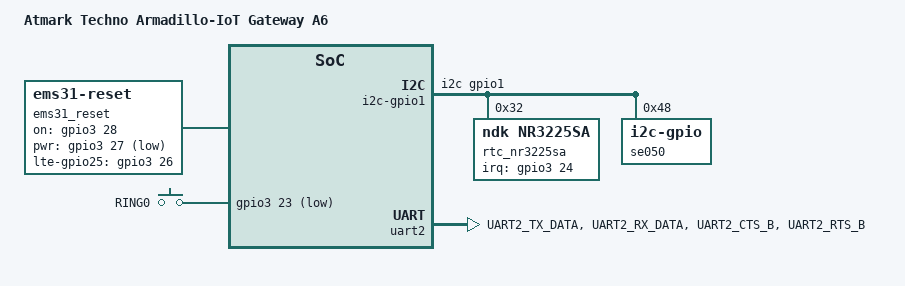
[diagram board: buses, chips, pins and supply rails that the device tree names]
/*
 * Copyright (C) 2021 Atmark Techno, Inc. All Rights Reserved.
 *
 * SPDX-License-Identifier: (GPL-2.0 OR MIT)
 */

#define ARMADILLO_IOTG_A6
#include "armadillo-640.dts"

/ {
	model = "Atmark Techno Armadillo-IoT Gateway A6";

	chosen {
		stdout-path = &uart3;
	};

	aliases {
		rtc0 = &rtc_nr3225sa;
	};

	ems31_reset: ems31-reset {
		compatible = "ems31-reset";
		pinctrl-names = "default";
		pinctrl-0 = <&pinctrl_ems31_reset>;
		gpio-on = <&gpio3 28 GPIO_ACTIVE_HIGH>;	/* LTE_ON */
		gpio-pwr = <&gpio3 27 GPIO_ACTIVE_LOW>;	/* LTE_PWR */
		gpio-lte-gpio25 = <&gpio3 26 GPIO_ACTIVE_HIGH>;	/* V36_LTE_GPIO25 */
	};

	i2c-gpio1 {
		pinctrl-names = "default";
		pinctrl-0 = <&pinctrl_i2c_gpio1>;

		#address-cells = <1>;
		#size-cells = <0>;
		compatible = "i2c-gpio";
		gpios = <
			&gpio1 31 GPIO_ACTIVE_HIGH
			&gpio1 30 GPIO_ACTIVE_HIGH
		>;
		i2c-gpio,delay-us = <2>;

		rtc_nr3225sa: rtc-nr3225sa {
			pinctrl-names = "default";
			pinctrl-0 = <&pinctrl_rtc_nr3225sa>;

			compatible = "ndk,nr3225sa";
			reg = <0x32>;

			interrupt-parent = <&gpio3>;
			interrupts = <24 IRQ_TYPE_EDGE_FALLING>;
		};

		se050 {
			compatible = "i2c-gpio";
			reg = <0x48>;
		};
	};

	gpio-keys {
		sw1 {
			label = "SW1";
			gpios = <&gpio1 10 GPIO_ACTIVE_LOW>;
			linux,code = <KEY_ENTER>;
			gpio-key,wakeup = <1>;
		};
	};

	gpio-wakeup {
		compatible = "gpio-keys";
		pinctrl-names = "default";
		pinctrl-0 = <&pinctrl_gpio_wakeup>;

		ring0 {
			label = "RING0";
			gpios = <&gpio3 23 GPIO_ACTIVE_LOW>;
			gpio-key,wakeup = <1>;
			linux,code = <KEY_WAKEUP>;
		};
	};
};

&uart2 {
	pinctrl-names = "default";
	pinctrl-0 = <&pinctrl_uart2>;
	status = "okay";
	uart-has-rtscts;
};

&iomuxc {
	pinctrl-names = "default";

	pinctrl_uart2: uart2grp {
		fsl,pins= <
			MX6UL_PAD_UART2_TX_DATA__UART2_DCE_TX	0x00008 // CON14_3  LTE_TXD0
			MX6UL_PAD_UART2_RX_DATA__UART2_DCE_RX	0x1b0b1 // CON14_4  LTE_RXD0
			MX6UL_PAD_UART2_CTS_B__UART2_DCE_CTS	0x00008 // CON9_1   LTE_RTS0
			MX6UL_PAD_UART2_RTS_B__UART2_DCE_RTS	0x1b0b1 // CON9_2   LTE_CTS0
		>;
	};

	pinctrl_i2c_gpio1: i2cgpio1grp {
		fsl,pins= <
			MX6UL_PAD_UART5_RX_DATA__GPIO1_IO31	0x40010008  // EXT_IO2
			MX6UL_PAD_UART5_TX_DATA__GPIO1_IO30	0x40010008  // EXT_IO4
		>;
	};

	pinctrl_se050_enable: se050enable {
		fsl,pins = <
			MX6UL_PAD_LCD_DATA20__GPIO3_IO25	0x00008	// CON9_15  SE_ENA
		>;
	};

	pinctrl_ems31_reset: ems31resetgrp {
		fsl,pins = <
			MX6UL_PAD_LCD_DATA21__GPIO3_IO26	0x00008	// CON9_16  V36_LTE_GPIO25
			MX6UL_PAD_LCD_DATA22__GPIO3_IO27	0x0b008	// CON9_17  LTE_PWR
			MX6UL_PAD_LCD_DATA23__GPIO3_IO28	0x0b008	// CON9_18  LTE_ON
		>;
	};

	pinctrl_rtc_nr3225sa: rtcnr3225sagrp {
		fsl,pins = <
			MX6UL_PAD_LCD_DATA19__GPIO3_IO24	0x08000	// CON9_14  RTC_INT_B
		>;
	};

	pinctrl_gpio_wakeup: gpio_wakeupgrp {
		fsl,pins = <
			MX6UL_PAD_LCD_DATA18__GPIO3_IO23	0x1b0b8 // CON9_13  LTE_RING0
		>;
	};
};
